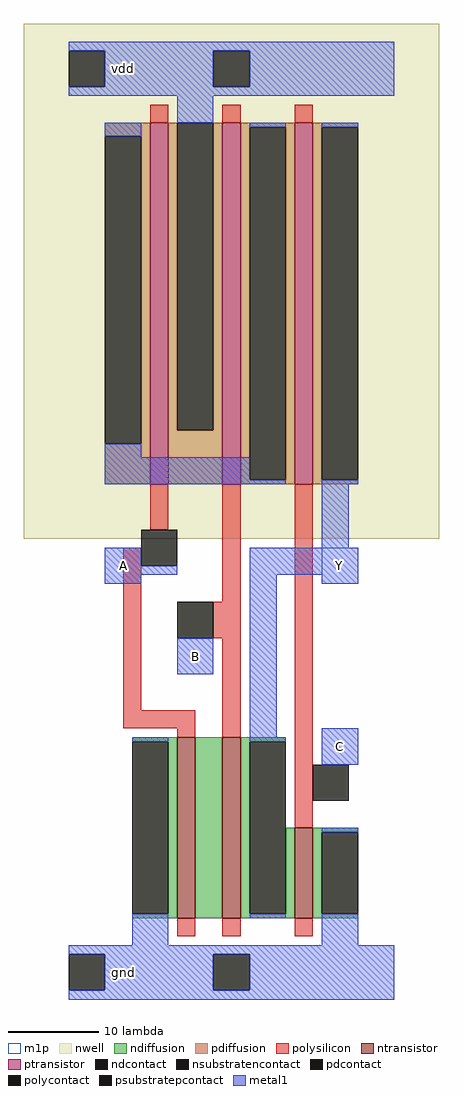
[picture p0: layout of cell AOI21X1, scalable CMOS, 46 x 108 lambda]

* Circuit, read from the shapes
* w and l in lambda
.subckt AOI21X1 A B C Y vdd gnd
M1 n1 A gnd gnd nfet w=20 l=2
M2 Y B n1 gnd nfet w=20 l=2
M3 gnd C Y gnd nfet w=10 l=2
M4 vdd A n2 vdd pfet w=40 l=2
M5 n2 B vdd vdd pfet w=40 l=2
M6 Y C n2 vdd pfet w=40 l=2
.ends

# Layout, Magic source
magic
tech scmos
magscale 1 2
<< nwell >>
rect -14 96 78 210
<< ntransistor >>
rect 20 12 24 52
rect 30 12 34 52
rect 46 12 50 32
<< ptransistor >>
rect 14 108 18 188
rect 30 108 34 188
rect 46 108 50 188
<< ndiffusion >>
rect 10 51 20 52
rect 18 13 20 51
rect 10 12 20 13
rect 24 12 30 52
rect 34 51 44 52
rect 34 13 36 51
rect 44 13 46 32
rect 34 12 46 13
rect 50 31 60 32
rect 50 13 52 31
rect 50 12 60 13
<< pdiffusion >>
rect 4 185 14 188
rect 12 117 14 185
rect 4 108 14 117
rect 18 120 20 188
rect 28 120 30 188
rect 18 108 30 120
rect 34 187 46 188
rect 34 109 36 187
rect 44 109 46 187
rect 34 108 46 109
rect 50 187 60 188
rect 50 109 52 187
rect 50 108 60 109
<< ndcontact >>
rect 10 13 18 51
rect 36 13 44 51
rect 52 13 60 31
<< pdcontact >>
rect 4 117 12 185
rect 20 120 28 188
rect 36 109 44 187
rect 52 109 60 187
<< psubstratepcontact >>
rect -4 -4 4 4
rect 28 -4 36 4
<< nsubstratencontact >>
rect -4 196 4 204
rect 28 196 36 204
<< polysilicon >>
rect 14 188 18 192
rect 30 188 34 192
rect 46 188 50 192
rect 14 98 18 108
rect 8 58 12 94
rect 30 82 34 108
rect 28 74 34 82
rect 8 54 24 58
rect 20 52 24 54
rect 30 52 34 74
rect 46 32 50 108
rect 20 8 24 12
rect 30 8 34 12
rect 46 8 50 12
<< polycontact >>
rect 12 90 20 98
rect 20 74 28 82
rect 50 38 58 46
<< metal1 >>
rect -4 204 68 206
rect 4 196 28 204
rect 36 196 68 204
rect -4 194 68 196
rect 20 188 28 194
rect 4 185 12 188
rect 36 187 44 188
rect 4 114 12 117
rect 4 109 36 114
rect 4 108 44 109
rect 52 187 60 188
rect 52 108 60 109
rect 4 90 12 94
rect 52 94 58 108
rect 4 88 20 90
rect 36 88 60 94
rect 4 86 12 88
rect 20 66 28 74
rect 36 52 42 88
rect 52 86 60 88
rect 10 51 18 52
rect 10 6 18 13
rect 36 51 44 52
rect 52 46 60 54
rect 36 12 44 13
rect 52 31 60 32
rect 52 6 60 13
rect -4 4 68 6
rect 4 -4 28 4
rect 36 -4 68 4
rect -4 -6 68 -4
<< m1p >>
rect 4 86 12 94
rect 52 86 60 94
rect 20 66 28 74
rect 52 46 60 54
<< labels >>
rlabel metal1 8 0 8 0 4 gnd
port 6 se
rlabel metal1 8 200 8 200 4 vdd
port 5 se
rlabel metal1 8 90 8 90 4 A
port 1 se
rlabel metal1 24 70 24 70 4 B
port 2 se
rlabel metal1 56 90 56 90 4 Y
port 4 se
rlabel metal1 56 50 56 50 4 C
port 3 se
<< end >>
